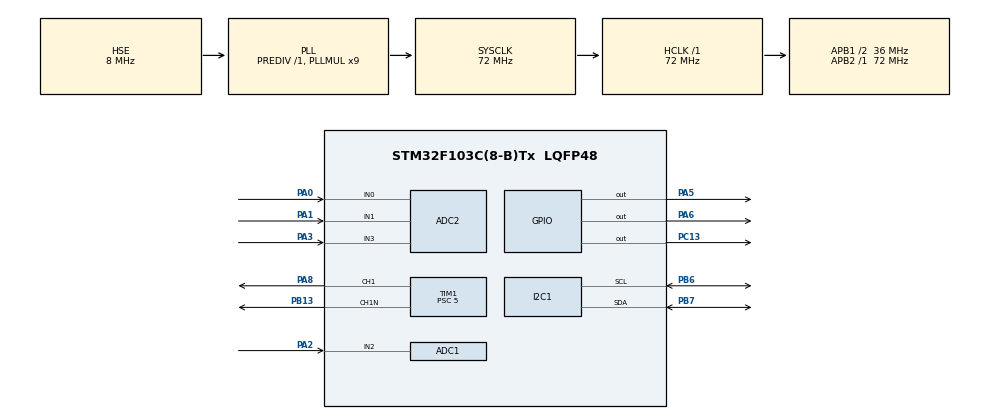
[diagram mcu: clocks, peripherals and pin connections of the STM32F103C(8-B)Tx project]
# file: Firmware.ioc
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ADC1.Channel-0\#ChannelRegularConversion=ADC_CHANNEL_2
ADC1.ContinuousConvMode=DISABLE
ADC1.ExternalTrigConv=ADC_EXTERNALTRIGCONV_T1_CC2
ADC1.NbrOfConversion=1
ADC1.NbrOfConversionFlag=1
ADC1.Rank-0\#ChannelRegularConversion=1
ADC1.SamplingTime-0\#ChannelRegularConversion=ADC_SAMPLETIME_71CYCLES_5
ADC1.master=1
ADC2.Channel-1\#ChannelRegularConversion=ADC_CHANNEL_0
ADC2.Channel-2\#ChannelRegularConversion=ADC_CHANNEL_1
ADC2.Channel-3\#ChannelRegularConversion=ADC_CHANNEL_3
ADC2.ContinuousConvMode=ENABLE
ADC2.NbrOfConversion=3
ADC2.NbrOfConversionFlag=1
ADC2.Rank-1\#ChannelRegularConversion=1
ADC2.Rank-2\#ChannelRegularConversion=2
ADC2.Rank-3\#ChannelRegularConversion=3
ADC2.SamplingTime-1\#ChannelRegularConversion=ADC_SAMPLETIME_239CYCLES_5
ADC2.SamplingTime-2\#ChannelRegularConversion=ADC_SAMPLETIME_239CYCLES_5
ADC2.SamplingTime-3\#ChannelRegularConversion=ADC_SAMPLETIME_239CYCLES_5
Dma.ADC1.0.Direction=DMA_PERIPH_TO_MEMORY
Dma.ADC1.0.Instance=DMA1_Channel1
Dma.ADC1.0.MemDataAlignment=DMA_MDATAALIGN_HALFWORD
Dma.ADC1.0.MemInc=DMA_MINC_ENABLE
Dma.ADC1.0.Mode=DMA_CIRCULAR
Dma.ADC1.0.PeriphDataAlignment=DMA_PDATAALIGN_HALFWORD
Dma.ADC1.0.PeriphInc=DMA_PINC_DISABLE
Dma.ADC1.0.Priority=DMA_PRIORITY_HIGH
Dma.Request0=ADC1
Mcu.Family=STM32F1
Mcu.Name=STM32F103C(8-B)Tx
Mcu.Package=LQFP48
NVIC.ADC1_2_IRQn=true\:0\:0\:false\:false\:true\:true\:true\:true
NVIC.DMA1_Channel1_IRQn=true\:0\:0\:false\:false\:true\:false\:true\:true
NVIC.PriorityGroup=NVIC_PRIORITYGROUP_4
NVIC.TIM1_BRK_IRQn=true\:0\:0\:false\:false\:true\:true\:true\:true
NVIC.TIM1_CC_IRQn=true\:0\:0\:false\:false\:true\:true\:true\:true
NVIC.TIM1_TRG_COM_IRQn=true\:0\:0\:false\:false\:true\:true\:true\:true
NVIC.TIM1_UP_IRQn=true\:0\:0\:false\:false\:true\:true\:true\:true
PA0-WKUP.Signal=ADCx_IN0
PA1.Signal=ADCx_IN1
PA13.Mode=Serial_Wire
PA13.Signal=SYS_JTMS-SWDIO
PA14.Mode=Serial_Wire
PA14.Signal=SYS_JTCK-SWCLK
PA2.Signal=ADCx_IN2
PA3.Signal=ADCx_IN3
PA5.Signal=GPIO_Output
PA6.Signal=GPIO_Output
PA8.Signal=S_TIM1_CH1
PB13.Mode=PWM Generation1 CH1 CH1N
PB13.Signal=TIM1_CH1N
PB6.Mode=I2C
PB6.Signal=I2C1_SCL
PB7.Mode=I2C
PB7.Signal=I2C1_SDA
PC13-TAMPER-RTC.Signal=GPIO_Output
PD0-OSC_IN.Mode=HSE-External-Oscillator
PD0-OSC_IN.Signal=RCC_OSC_IN
PD1-OSC_OUT.Mode=HSE-External-Oscillator
PD1-OSC_OUT.Signal=RCC_OSC_OUT
ProjectManager.HeapSize=0x200
ProjectManager.StackSize=0x400
ProjectManager.TargetToolchain=MDK-ARM V5.32
RCC.ADCPresc=RCC_ADCPCLK2_DIV6
RCC.AHBFreq_Value=72000000
RCC.APB1CLKDivider=RCC_HCLK_DIV2
RCC.APB1Freq_Value=36000000
RCC.APB1TimFreq_Value=72000000
RCC.APB2Freq_Value=72000000
RCC.APB2TimFreq_Value=72000000
RCC.HCLKFreq_Value=72000000
RCC.PLLMUL=RCC_PLL_MUL9
RCC.PLLSourceVirtual=RCC_PLLSOURCE_HSE
RCC.SYSCLKFreq_VALUE=72000000
RCC.SYSCLKSource=RCC_SYSCLKSOURCE_PLLCLK
RCC.USBFreq_Value=72000000
SH.ADCx_IN0.0=ADC2_IN0,IN0
SH.ADCx_IN1.0=ADC2_IN1,IN1
SH.ADCx_IN2.0=ADC1_IN2,IN2
SH.ADCx_IN3.0=ADC2_IN3,IN3
SH.S_TIM1_CH1.0=TIM1_CH1,PWM Generation1 CH1 CH1N
TIM1.Channel-PWM\ Generation1\ CH1\ CH1N=TIM_CHANNEL_1
TIM1.Channel-PWM\ Generation2\ No\ Output=TIM_CHANNEL_2
TIM1.DeadTime=72
TIM1.OCMode_PWM-PWM\ Generation2\ No\ Output=TIM_OCMODE_PWM2
TIM1.OCPolarity_2=TIM_OCPOLARITY_HIGH
TIM1.Period=1000
TIM1.Prescaler=5
TIM1.Pulse-PWM\ Generation2\ No\ Output=500
TIM1.TIM_MasterOutputTrigger=TIM_TRGO_OC2REF
TIM3.AutoReloadPreload=TIM_AUTORELOAD_PRELOAD_ENABLE
TIM3.Period=1000
TIM3.Prescaler=5
TIM3.TIM_MasterOutputTrigger=TIM_TRGO_UPDATE
TIM4.Channel-PWM\ Generation4\ No\ Output=TIM_CHANNEL_4
TIM4.OCMode_PWM-PWM\ Generation4\ No\ Output=TIM_OCMODE_PWM2
TIM4.Period=1000
TIM4.Prescaler=5
TIM4.Pulse-PWM\ Generation4\ No\ Output=500
TIM4.TIM_MasterOutputTrigger=TIM_TRGO_OC4REF
VP_TIM1_VS_ClockSourceINT.Mode=Internal
VP_TIM1_VS_no_output2.Mode=PWM Generation2 No Output
VP_TIM3_VS_ClockSourceINT.Mode=Internal
VP_TIM4_VS_ClockSourceINT.Mode=Internal
VP_TIM4_VS_no_output4.Mode=PWM Generation4 No Output
board=custom

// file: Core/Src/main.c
/* USER CODE BEGIN Header */
/**
  ******************************************************************************
  * @file           : main.c
  * @brief          : Main program body
  ******************************************************************************
  * @attention
  *
  * Copyright (c) 2026 STMicroelectronics.
  * All rights reserved.
  *
  * This software is licensed under terms that can be found in the LICENSE file
  * in the root directory of this software component.
  * If no LICENSE file comes with this software, it is provided AS-IS.
  *
  ******************************************************************************
  */
/* USER CODE END Header */
#include "main.h"

/* USER CODE BEGIN Includes */
#include "CLCD_I2C.h"
#include "stdio.h"

uint16_t ADC_Value[1];

float Vout;
float Vin;
float Current;

char lcd_buff[20];
/* USER CODE END Includes */

/* USER CODE BEGIN PTD */
CLCD_I2C_Name LCD1;
/* USER CODE END PTD */

ADC_HandleTypeDef hadc1;
ADC_HandleTypeDef hadc2;
DMA_HandleTypeDef hdma_adc1;

I2C_HandleTypeDef hi2c1;

TIM_HandleTypeDef htim1;
TIM_HandleTypeDef htim3;
TIM_HandleTypeDef htim4;

void SystemClock_Config(void);
static void MX_GPIO_Init(void);
static void MX_DMA_Init(void);
static void MX_ADC1_Init(void);
static void MX_TIM1_Init(void);
static void MX_I2C1_Init(void);
static void MX_TIM3_Init(void);
static void MX_TIM4_Init(void);
static void MX_ADC2_Init(void);

/* USER CODE BEGIN 0 */
float lastVout = 0;
float lastVin  = 0;
float Current = 0;
uint32_t timeUpdateLcd = 0;

float pot_filter = 0;
uint16_t adc0, adc1, adc3;

float Vout, Vin;
uint16_t Pot;
void PWM_Control_From_Pot(void)
{
    uint16_t pwm;

    // Low-pass filter
    pot_filter = 0.9f*pot_filter + 0.1f*(float)Pot;

    pwm = (uint16_t)(pot_filter * 999.0f / 4095.0f);

    TIM1->CCR1 = pwm;
		TIM1->CCR2 = 10;
}
void HAL_ADC_ConvCpltCallback(ADC_HandleTypeDef *hadc)
{

    if(hadc->Instance == ADC1)
    {
        GPIOC->ODR ^= GPIO_ODR_ODR13;
    }
}

uint16_t ADC_Read_Channel(uint32_t channel)
{
    ADC_ChannelConfTypeDef sConfig = {0};

    sConfig.Channel = channel;
    sConfig.Rank = ADC_REGULAR_RANK_1;
    sConfig.SamplingTime = ADC_SAMPLETIME_239CYCLES_5;

    HAL_ADC_ConfigChannel(&hadc2, &sConfig);

    HAL_ADC_Start(&hadc2);

    HAL_ADC_PollForConversion(&hadc2, 10);

    return HAL_ADC_GetValue(&hadc2);
}
void ADC_Read_All(void)
{
    adc0 = ADC_Read_Channel(ADC_CHANNEL_0);
    adc1 = ADC_Read_Channel(ADC_CHANNEL_1);
    adc3 = ADC_Read_Channel(ADC_CHANNEL_3);

    lastVout = adc0 * 3.3f / 4095.0f * 13.0f * 13.0 / 18.6;
    lastVin  = adc1 * 3.3f / 4095.0f * 13.0f * 13.0 / 18.6;
		Vout = 0.3f * Vout + 0.7f * lastVout;
		Vin = 0.3f * Vin + 0.7f * lastVin;
    Pot = adc3;
}
void Read_Current_Filter(void)
{
//    float Current_new = ADC_Value[0] * 12.0f;
		float Current_new = ADC_Value[0] * 3.3f * 20.0f / 4095.0f / (0.008f * 40.0f);
		//float Current_new = ADC_Value[0] * 30.3f  / 4095.0f;
    Current = 0.3f * Current + 0.7f * Current_new;
}
//void HAL_TIM_OC_DelayElapsedCallback(TIM_HandleTypeDef *htim)
//{
//    if(htim->Channel == HAL_TIM_ACTIVE_CHANNEL_2)
//    {
//        HAL_GPIO_TogglePin(GPIOC, GPIO_PIN_13);
//    }
//}
/* USER CODE END 0 */

int main(void)
{

  /* MCU Configuration--------------------------------------------------------*/

  /* Reset of all peripherals, Initializes the Flash interface and the Systick. */
  HAL_Init();

  /* Configure the system clock */
  SystemClock_Config();

  /* Initialize all configured peripherals */
  MX_GPIO_Init();
  MX_DMA_Init();
  MX_ADC1_Init();
  MX_TIM1_Init();
  MX_I2C1_Init();
  MX_TIM3_Init();
  MX_TIM4_Init();
  MX_ADC2_Init();
  /* USER CODE BEGIN 2 */
	HAL_TIM_PWM_Start(&htim1, TIM_CHANNEL_1);
	HAL_TIMEx_PWMN_Start(&htim1, TIM_CHANNEL_1);
	HAL_TIM_PWM_Start(&htim1, TIM_CHANNEL_2);
	HAL_ADC_Start_DMA(&hadc1,(uint32_t*)ADC_Value,1);
	HAL_ADC_Start_IT(&hadc2);
	TIM1 -> CCR1 = 200;
	CLCD_I2C_Init(&LCD1,&hi2c1,0x4e,16,2);
	CLCD_I2C_SetCursor(&LCD1, 0, 1);
	CLCD_I2C_WriteString(&LCD1,"hello anh em ");
  /* USER CODE END 2 */

  /* Infinite loop */
  /* USER CODE BEGIN WHILE */
  while (1)
  {
		Read_Current_Filter();
		ADC_Read_All();
		PWM_Control_From_Pot();
		if(HAL_GetTick() - timeUpdateLcd > 1500)
		{
			timeUpdateLcd = HAL_GetTick();
			CLCD_I2C_SetCursor(&LCD1,0,0);
			sprintf(lcd_buff,"in=%.1f",Vin);
			CLCD_I2C_WriteString(&LCD1,lcd_buff);

			CLCD_I2C_SetCursor(&LCD1,8,0);
			sprintf(lcd_buff,"out=%.1f",Vout);
			CLCD_I2C_WriteString(&LCD1,lcd_buff);

			CLCD_I2C_SetCursor(&LCD1,0,1);
			sprintf(lcd_buff,"Iout=%5.2f A",Current);
			CLCD_I2C_WriteString(&LCD1,lcd_buff);

		}
    /* USER CODE END WHILE */

  }
}

void SystemClock_Config(void)
{
  RCC_OscInitTypeDef RCC_OscInitStruct = {0};
  RCC_ClkInitTypeDef RCC_ClkInitStruct = {0};
  RCC_PeriphCLKInitTypeDef PeriphClkInit = {0};

  /** Initializes the RCC Oscillators according to the specified parameters
  * in the RCC_OscInitTypeDef structure.
  */
  RCC_OscInitStruct.OscillatorType = RCC_OSCILLATORTYPE_HSE;
  RCC_OscInitStruct.HSEState = RCC_HSE_ON;
  RCC_OscInitStruct.HSEPredivValue = RCC_HSE_PREDIV_DIV1;
  RCC_OscInitStruct.HSIState = RCC_HSI_ON;
  RCC_OscInitStruct.PLL.PLLState = RCC_PLL_ON;
  RCC_OscInitStruct.PLL.PLLSource = RCC_PLLSOURCE_HSE;
  RCC_OscInitStruct.PLL.PLLMUL = RCC_PLL_MUL9;
  if (HAL_RCC_OscConfig(&RCC_OscInitStruct) != HAL_OK)
  {
    Error_Handler();
  }

  /** Initializes the CPU, AHB and APB buses clocks
  */
  RCC_ClkInitStruct.ClockType = RCC_CLOCKTYPE_HCLK|RCC_CLOCKTYPE_SYSCLK
                              |RCC_CLOCKTYPE_PCLK1|RCC_CLOCKTYPE_PCLK2;
  RCC_ClkInitStruct.SYSCLKSource = RCC_SYSCLKSOURCE_PLLCLK;
  RCC_ClkInitStruct.AHBCLKDivider = RCC_SYSCLK_DIV1;
  RCC_ClkInitStruct.APB1CLKDivider = RCC_HCLK_DIV2;
  RCC_ClkInitStruct.APB2CLKDivider = RCC_HCLK_DIV1;

  if (HAL_RCC_ClockConfig(&RCC_ClkInitStruct, FLASH_LATENCY_2) != HAL_OK)
  {
    Error_Handler();
  }
  PeriphClkInit.PeriphClockSelection = RCC_PERIPHCLK_ADC;
  PeriphClkInit.AdcClockSelection = RCC_ADCPCLK2_DIV6;
  if (HAL_RCCEx_PeriphCLKConfig(&PeriphClkInit) != HAL_OK)
  {
    Error_Handler();
  }
}

static void MX_ADC1_Init(void)
{

  ADC_ChannelConfTypeDef sConfig = {0};

  /** Common config
  */
  hadc1.Instance = ADC1;
  hadc1.Init.ScanConvMode = ADC_SCAN_DISABLE;
  hadc1.Init.ContinuousConvMode = DISABLE;
  hadc1.Init.DiscontinuousConvMode = DISABLE;
  hadc1.Init.ExternalTrigConv = ADC_EXTERNALTRIGCONV_T1_CC2;
  hadc1.Init.DataAlign = ADC_DATAALIGN_RIGHT;
  hadc1.Init.NbrOfConversion = 1;
  if (HAL_ADC_Init(&hadc1) != HAL_OK)
  {
    Error_Handler();
  }

  /** Configure Regular Channel
  */
  sConfig.Channel = ADC_CHANNEL_2;
  sConfig.Rank = ADC_REGULAR_RANK_1;
  sConfig.SamplingTime = ADC_SAMPLETIME_239CYCLES_5;
  if (HAL_ADC_ConfigChannel(&hadc1, &sConfig) != HAL_OK)
  {
    Error_Handler();
  }

}

static void MX_ADC2_Init(void)
{

  ADC_ChannelConfTypeDef sConfig = {0};

  /** Common config
  */
  hadc2.Instance = ADC2;
  hadc2.Init.ScanConvMode = ADC_SCAN_DISABLE;
  hadc2.Init.ContinuousConvMode = DISABLE;
  hadc2.Init.DiscontinuousConvMode = DISABLE;
  hadc2.Init.ExternalTrigConv = ADC_SOFTWARE_START;
  hadc2.Init.DataAlign = ADC_DATAALIGN_RIGHT;
  hadc2.Init.NbrOfConversion = 1;
  if (HAL_ADC_Init(&hadc2) != HAL_OK)
  {
    Error_Handler();
  }

  /** Configure Regular Channel
  */
  sConfig.Channel = ADC_CHANNEL_0;
  sConfig.Rank = ADC_REGULAR_RANK_1;
  sConfig.SamplingTime = ADC_SAMPLETIME_239CYCLES_5;
  if (HAL_ADC_ConfigChannel(&hadc2, &sConfig) != HAL_OK)
  {
    Error_Handler();
  }

  /** Configure Regular Channel
  */
  sConfig.Channel = ADC_CHANNEL_1;
  sConfig.Rank = ADC_REGULAR_RANK_2;
  if (HAL_ADC_ConfigChannel(&hadc2, &sConfig) != HAL_OK)
  {
    Error_Handler();
  }

  /** Configure Regular Channel
  */
  sConfig.Channel = ADC_CHANNEL_3;
  sConfig.Rank = ADC_REGULAR_RANK_3;
  if (HAL_ADC_ConfigChannel(&hadc2, &sConfig) != HAL_OK)
  {
    Error_Handler();
  }

}

static void MX_I2C1_Init(void)
{

  hi2c1.Instance = I2C1;
  hi2c1.Init.ClockSpeed = 100000;
  hi2c1.Init.DutyCycle = I2C_DUTYCYCLE_2;
  hi2c1.Init.OwnAddress1 = 0;
  hi2c1.Init.AddressingMode = I2C_ADDRESSINGMODE_7BIT;
  hi2c1.Init.DualAddressMode = I2C_DUALADDRESS_DISABLE;
  hi2c1.Init.OwnAddress2 = 0;
  hi2c1.Init.GeneralCallMode = I2C_GENERALCALL_DISABLE;
  hi2c1.Init.NoStretchMode = I2C_NOSTRETCH_DISABLE;
  if (HAL_I2C_Init(&hi2c1) != HAL_OK)
  {
    Error_Handler();
  }

}

static void MX_TIM1_Init(void)
{

  TIM_ClockConfigTypeDef sClockSourceConfig = {0};
  TIM_MasterConfigTypeDef sMasterConfig = {0};
  TIM_OC_InitTypeDef sConfigOC = {0};
  TIM_BreakDeadTimeConfigTypeDef sBreakDeadTimeConfig = {0};

  htim1.Instance = TIM1;
  htim1.Init.Prescaler = 4;
  htim1.Init.CounterMode = TIM_COUNTERMODE_UP;
  htim1.Init.Period = 1000;
  htim1.Init.ClockDivision = TIM_CLOCKDIVISION_DIV1;
  htim1.Init.RepetitionCounter = 0;
  htim1.Init.AutoReloadPreload = TIM_AUTORELOAD_PRELOAD_DISABLE;
  if (HAL_TIM_Base_Init(&htim1) != HAL_OK)
  {
    Error_Handler();
  }
  sClockSourceConfig.ClockSource = TIM_CLOCKSOURCE_INTERNAL;
  if (HAL_TIM_ConfigClockSource(&htim1, &sClockSourceConfig) != HAL_OK)
  {
    Error_Handler();
  }
  if (HAL_TIM_PWM_Init(&htim1) != HAL_OK)
  {
    Error_Handler();
  }
  sMasterConfig.MasterOutputTrigger = TIM_TRGO_OC2REF;
  sMasterConfig.MasterSlaveMode = TIM_MASTERSLAVEMODE_DISABLE;
  if (HAL_TIMEx_MasterConfigSynchronization(&htim1, &sMasterConfig) != HAL_OK)
  {
    Error_Handler();
  }
  sConfigOC.OCMode = TIM_OCMODE_PWM1;
  sConfigOC.Pulse = 0;
  sConfigOC.OCPolarity = TIM_OCPOLARITY_HIGH;
  sConfigOC.OCNPolarity = TIM_OCNPOLARITY_HIGH;
  sConfigOC.OCFastMode = TIM_OCFAST_DISABLE;
  sConfigOC.OCIdleState = TIM_OCIDLESTATE_RESET;
  sConfigOC.OCNIdleState = TIM_OCNIDLESTATE_RESET;
  if (HAL_TIM_PWM_ConfigChannel(&htim1, &sConfigOC, TIM_CHANNEL_1) != HAL_OK)
  {
    Error_Handler();
  }
  sConfigOC.OCMode = TIM_OCMODE_PWM2;
  sConfigOC.Pulse = 500;
  if (HAL_TIM_PWM_ConfigChannel(&htim1, &sConfigOC, TIM_CHANNEL_2) != HAL_OK)
  {
    Error_Handler();
  }
  sBreakDeadTimeConfig.OffStateRunMode = TIM_OSSR_DISABLE;
  sBreakDeadTimeConfig.OffStateIDLEMode = TIM_OSSI_DISABLE;
  sBreakDeadTimeConfig.LockLevel = TIM_LOCKLEVEL_OFF;
  sBreakDeadTimeConfig.DeadTime = 36;
  sBreakDeadTimeConfig.BreakState = TIM_BREAK_DISABLE;
  sBreakDeadTimeConfig.BreakPolarity = TIM_BREAKPOLARITY_HIGH;
  sBreakDeadTimeConfig.AutomaticOutput = TIM_AUTOMATICOUTPUT_DISABLE;
  if (HAL_TIMEx_ConfigBreakDeadTime(&htim1, &sBreakDeadTimeConfig) != HAL_OK)
  {
    Error_Handler();
  }
  HAL_TIM_MspPostInit(&htim1);

}

static void MX_TIM3_Init(void)
{

  TIM_ClockConfigTypeDef sClockSourceConfig = {0};
  TIM_MasterConfigTypeDef sMasterConfig = {0};

  htim3.Instance = TIM3;
  htim3.Init.Prescaler = 5;
  htim3.Init.CounterMode = TIM_COUNTERMODE_UP;
  htim3.Init.Period = 1000;
  htim3.Init.ClockDivision = TIM_CLOCKDIVISION_DIV1;
  htim3.Init.AutoReloadPreload = TIM_AUTORELOAD_PRELOAD_ENABLE;
  if (HAL_TIM_Base_Init(&htim3) != HAL_OK)
  {
    Error_Handler();
  }
  sClockSourceConfig.ClockSource = TIM_CLOCKSOURCE_INTERNAL;
  if (HAL_TIM_ConfigClockSource(&htim3, &sClockSourceConfig) != HAL_OK)
  {
    Error_Handler();
  }
  sMasterConfig.MasterOutputTrigger = TIM_TRGO_UPDATE;
  sMasterConfig.MasterSlaveMode = TIM_MASTERSLAVEMODE_DISABLE;
  if (HAL_TIMEx_MasterConfigSynchronization(&htim3, &sMasterConfig) != HAL_OK)
  {
    Error_Handler();
  }

}

static void MX_TIM4_Init(void)
{

  TIM_ClockConfigTypeDef sClockSourceConfig = {0};
  TIM_MasterConfigTypeDef sMasterConfig = {0};
  TIM_OC_InitTypeDef sConfigOC = {0};

  htim4.Instance = TIM4;
  htim4.Init.Prescaler = 5;
  htim4.Init.CounterMode = TIM_COUNTERMODE_UP;
  htim4.Init.Period = 1000;
  htim4.Init.ClockDivision = TIM_CLOCKDIVISION_DIV1;
  htim4.Init.AutoReloadPreload = TIM_AUTORELOAD_PRELOAD_DISABLE;
  if (HAL_TIM_Base_Init(&htim4) != HAL_OK)
  {
    Error_Handler();
  }
  sClockSourceConfig.ClockSource = TIM_CLOCKSOURCE_INTERNAL;
  if (HAL_TIM_ConfigClockSource(&htim4, &sClockSourceConfig) != HAL_OK)
  {
    Error_Handler();
  }
  if (HAL_TIM_PWM_Init(&htim4) != HAL_OK)
  {
    Error_Handler();
  }
  sMasterConfig.MasterOutputTrigger = TIM_TRGO_OC4REF;
  sMasterConfig.MasterSlaveMode = TIM_MASTERSLAVEMODE_DISABLE;
  if (HAL_TIMEx_MasterConfigSynchronization(&htim4, &sMasterConfig) != HAL_OK)
  {
    Error_Handler();
  }
  sConfigOC.OCMode = TIM_OCMODE_PWM2;
  sConfigOC.Pulse = 500;
  sConfigOC.OCPolarity = TIM_OCPOLARITY_HIGH;
  sConfigOC.OCFastMode = TIM_OCFAST_DISABLE;
  if (HAL_TIM_PWM_ConfigChannel(&htim4, &sConfigOC, TIM_CHANNEL_4) != HAL_OK)
  {
    Error_Handler();
  }

}

static void MX_DMA_Init(void)
{

  /* DMA controller clock enable */
  __HAL_RCC_DMA1_CLK_ENABLE();

  /* DMA interrupt init */
  /* DMA1_Channel1_IRQn interrupt configuration */
  HAL_NVIC_SetPriority(DMA1_Channel1_IRQn, 0, 0);
  HAL_NVIC_EnableIRQ(DMA1_Channel1_IRQn);

}

static void MX_GPIO_Init(void)
{
  GPIO_InitTypeDef GPIO_InitStruct = {0};

  /* GPIO Ports Clock Enable */
  __HAL_RCC_GPIOC_CLK_ENABLE();
  __HAL_RCC_GPIOD_CLK_ENABLE();
  __HAL_RCC_GPIOA_CLK_ENABLE();
  __HAL_RCC_GPIOB_CLK_ENABLE();

  /*Configure GPIO pin Output Level */
  HAL_GPIO_WritePin(GPIOC, GPIO_PIN_13, GPIO_PIN_RESET);

  /*Configure GPIO pin Output Level */
  HAL_GPIO_WritePin(GPIOA, GPIO_PIN_5|GPIO_PIN_6, GPIO_PIN_RESET);

  /*Configure GPIO pin : PC13 */
  GPIO_InitStruct.Pin = GPIO_PIN_13;
  GPIO_InitStruct.Mode = GPIO_MODE_OUTPUT_PP;
  GPIO_InitStruct.Pull = GPIO_NOPULL;
  GPIO_InitStruct.Speed = GPIO_SPEED_FREQ_LOW;
  HAL_GPIO_Init(GPIOC, &GPIO_InitStruct);

  /*Configure GPIO pins : PA5 PA6 */
  GPIO_InitStruct.Pin = GPIO_PIN_5|GPIO_PIN_6;
  GPIO_InitStruct.Mode = GPIO_MODE_OUTPUT_PP;
  GPIO_InitStruct.Pull = GPIO_NOPULL;
  GPIO_InitStruct.Speed = GPIO_SPEED_FREQ_LOW;
  HAL_GPIO_Init(GPIOA, &GPIO_InitStruct);

}

void Error_Handler(void)
{
  __disable_irq();
  while (1)
  {
  }
}
